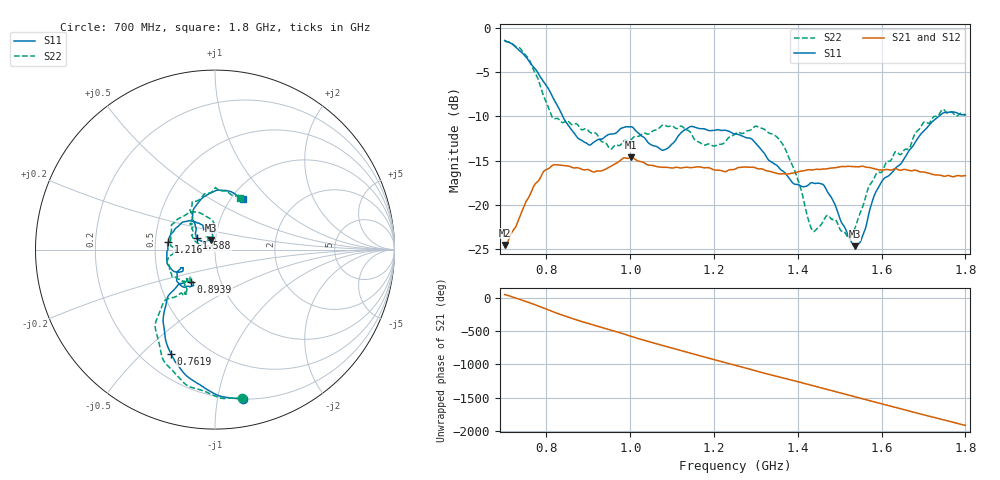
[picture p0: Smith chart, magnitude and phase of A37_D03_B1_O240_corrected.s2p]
! Created with skrf 1.9.0 (http://scikit-rf.org).
# Hz S RI R 50.0
!freq ReS11 ImS11 ReS21 ImS21 ReS12 ImS12 ReS22 ImS22
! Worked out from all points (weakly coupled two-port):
!   1601 points, 700 MHz to 1.8 GHz, reference 50 ohm
!   highest |S21| = -14.64 dB at 1.002 GHz (marker M1); lowest = -24.5 dB at 700.7 MHz (marker M2)
!   lowest |S11| = -24.7 dB at 1.535 GHz (marker M3), VSWR 1.12, Z = 47.4 + j5.1 ohm
!   |S11| at or under -10 dB: 838.8 MHz to 1.736 GHz (897.5 MHz wide, 69.7 % of centre)
!   |S22| runs from -23.7 to -1.5 dB; largest |S21 - S12| = 0.0034
!   S11 on the Smith chart (normalised r, x): 700 MHz: 0.20, -1.19; 761.9 MHz: 0.32, -0.61; 893.9 MHz: 0.72, -0.27; 1.216 GHz: 0.59, +0.05; 1.588 GHz: 0.81, +0.11; 1.8 GHz: 1.13, +0.71
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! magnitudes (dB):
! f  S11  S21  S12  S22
! 700 MHz  -1.4  -24.5  -24.3  -1.5
! 700.7 MHz  -1.5  -24.5  -24.2  -1.5
! 761.9 MHz  -4.0  -18.7  -18.7  -3.9
! 814.8 MHz  -7.8  -15.5  -15.6  -10.2
! 883.6 MHz  -12.7  -16.0  -15.9  -11.5
! 893.9 MHz  -13.0  -16.0  -16.1  -11.4
! 953 MHz  -12.0  -15.7  -15.7  -13.7
! 1.002 GHz  -11.2  -14.6  -14.8  -12.6
! 1.067 GHz  -13.5  -15.7  -15.6  -11.4
! 1.143 GHz  -11.2  -15.8  -15.8  -11.8
! 1.216 GHz  -11.6  -16.1  -16.1  -13.2
! 1.25 GHz  -12.0  -16.0  -15.9  -12.0
! 1.356 GHz  -15.8  -16.5  -16.4  -12.6
! 1.394 GHz  -17.7  -16.3  -16.3  -16.3
! 1.434 GHz  -17.5  -16.0  -16.0  -22.8
! 1.464 GHz  -17.9  -15.9  -15.9  -21.5
! 1.535 GHz  -24.7  -15.7  -15.7  -22.7
! 1.554 GHz  -23.6  -15.6  -15.7  -20.3
! 1.588 GHz  -18.4  -16.0  -16.0  -16.4
! 1.617 GHz  -16.7  -16.0  -16.0  -15.1
! 1.739 GHz  -9.9  -16.6  -16.7  -9.7
! 1.8 GHz  -9.8  -16.7  -16.7  -9.9
